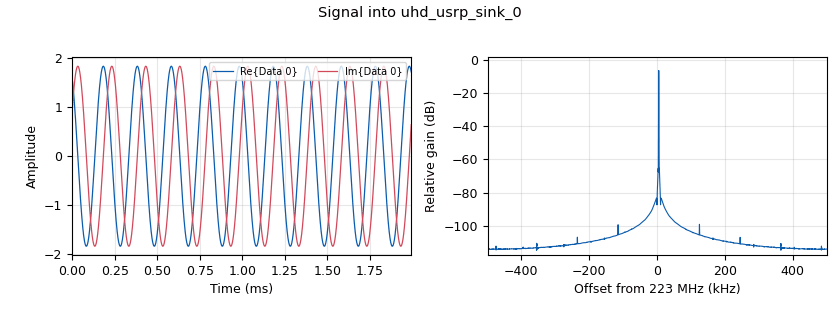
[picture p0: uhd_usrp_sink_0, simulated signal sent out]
options:
  parameters:
    author: sara
    generate_options: qt_gui
    id: AM_Simulation
    output_language: python
    title: AM_Simulation
  states: {}

blocks:
- name: samp_rate
  id: variable
  parameters:
    value: 1E6
  states: {}
- name: analog_am_demod_cf_0
  id: analog_am_demod_cf
  parameters:
    audio_decim: '1'
    audio_pass: '5000'
    audio_stop: 55e6
    chan_rate: samp_rate
  states: {}
- name: analog_const_source_x_0
  id: analog_const_source_x
  parameters:
    const: '700e-3'
    type: complex
  states: {}
- name: analog_const_source_x_0_0
  id: analog_const_source_x
  parameters:
    const: '1'
    type: complex
  states: {}
- name: analog_sig_source_x_0
  id: analog_sig_source_x
  parameters:
    amp: '1'
    freq: '50'
    offset: '0'
    phase: '0'
    samp_rate: samp_rate
    type: complex
    waveform: analog.GR_SQR_WAVE
  states: {}
- name: analog_sig_source_x_0_0
  id: analog_sig_source_x
  parameters:
    amp: '1'
    freq: 5E3
    offset: '0'
    phase: '0'
    samp_rate: samp_rate
    type: complex
    waveform: analog.GR_COS_WAVE
  states: {}
- name: blocks_add_xx_1
  id: blocks_add_xx
  parameters:
    type: complex
  states: {}
- name: blocks_multiply_xx_0_0
  id: blocks_multiply_xx
  parameters:
    type: complex
  states: {}
- name: blocks_multiply_xx_0_1
  id: blocks_multiply_xx
  parameters:
    type: complex
  states: {}
- name: qtgui_time_sink_x_0
  id: qtgui_time_sink_x
  parameters:
    label1: Demod
    size: '1024'
    srate: samp_rate
    type: float
  states: {}
- name: uhd_usrp_sink_0
  id: uhd_usrp_sink
  parameters:
    ant0: TX/RX
    bw0: 200e3
    center_freq0: 223e6
    clock_source0: external
    dev_addr: '"serial=309AF59  "'
    dev_args: '""'
    gain0: '1'
    len_tag_name: ''
    norm_gain0: 'False'
    samp_rate: 1e6
    sync: sync
    type: fc32
  states: {}
- name: uhd_usrp_source_1
  id: uhd_usrp_source
  parameters:
    ant0: RX2
    bw0: 200e3
    center_freq0: 223e6
    clock_source0: external
    dc_offs_enb0: '""'
    dev_addr: '"serial=309AF6A"'
    dev_args: '""'
    gain0: '1'
    iq_imbal_enb0: '""'
    norm_gain0: 'False'
    rx_agc0: Disabled
    samp_rate: 1e6
    sync: sync
    type: fc32
  states: {}

connections:
- [analog_am_demod_cf_0, '0', qtgui_time_sink_x_0, '0']
- [analog_const_source_x_0, '0', blocks_multiply_xx_0_0, '0']
- [analog_const_source_x_0_0, '0', blocks_add_xx_1, '1']
- [analog_sig_source_x_0, '0', blocks_multiply_xx_0_0, '1']
- [analog_sig_source_x_0_0, '0', blocks_multiply_xx_0_1, '1']
- [blocks_add_xx_1, '0', blocks_multiply_xx_0_1, '0']
- [blocks_multiply_xx_0_0, '0', blocks_add_xx_1, '0']
- [blocks_multiply_xx_0_1, '0', uhd_usrp_sink_0, '0']
- [uhd_usrp_source_1, '0', analog_am_demod_cf_0, '0']

metadata:
  file_format: 1
